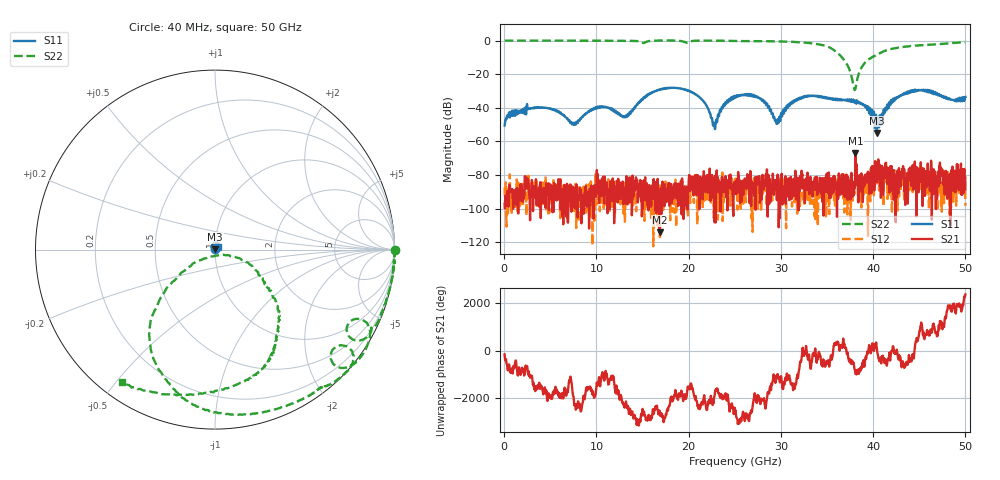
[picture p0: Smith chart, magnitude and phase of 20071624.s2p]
! 10/19/2020 13:28:32
! D:\MS4647AVNA\240M185F 200716XX\20071624.S2P
! CHANNEL.1
! TR.MEASUREMENT
! CORRECTED.DATA
# GHZ S RI R 50.0
! FREQ.GHZ  S11RE  S11IM  S21RE  S21IM  S12RE  S12IM  S22RE  S22IM
!; PortSelection: Port_12
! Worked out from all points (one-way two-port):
!   1250 points, 40 MHz to 50 GHz, reference 50 ohm
!   highest |S21| = -67.02 dB at 38.08 GHz (marker M1); lowest = -114.1 dB at 16.84 GHz (marker M2)
!   lowest |S11| = -54.9 dB at 40.4 GHz (marker M3), VSWR 1.00, Z = 50 + j0.178 ohm
!   |S11| at or under -10 dB: start of sweep to end of sweep
!   |S22| runs from -29.5 to 0.1 dB; largest |S21 - S12| = 0.00043
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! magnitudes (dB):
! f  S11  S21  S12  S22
! 40 MHz  -50.6  -97.0  -87.5  0.0
! 3.52 GHz  -39.7  -97.7  -98.3  0.0
! 7.52 GHz  -49.7  -88.0  -91.7  0.0
! 8.4 GHz  -45.8  -93.7  -93.4  0.0
! 10.52 GHz  -39.1  -83.9  -86.9  -0.1
! 13.12 GHz  -45.6  -90.4  -99.1  -0.2
! 16.72 GHz  -29.3  -88.6  -92.1  0.0
! 16.84 GHz  -29.3  -114.1  -97.0  0.0
! 20.64 GHz  -31.5  -86.1  -90.3  -0.1
! 22.84 GHz  -52.7  -80.5  -99.4  0.0
! 25.04 GHz  -33.3  -87.2  -89.5  -0.3
! 27.64 GHz  -34.0  -80.7  -87.9  -0.3
! 29.56 GHz  -49.6  -95.0  -91.1  -0.5
! 31.24 GHz  -36.2  -83.6  -87.0  -0.7
! 33.36 GHz  -33.0  -90.8  -84.4  -1.6
! 36.32 GHz  -35.0  -86.3  -83.4  -8.3
! 38.08 GHz  -35.8  -67.0  -75.2  -28.5
! 38.92 GHz  -38.2  -81.6  -86.7  -14.5
! 40.4 GHz  -54.9  -84.3  -81.8  -8.4
! 41.68 GHz  -38.6  -81.2  -91.8  -5.4
! 44.76 GHz  -29.4  -78.1  -82.1  -3.0
! 50 GHz  -33.5  -88.7  -98.4  -0.9
